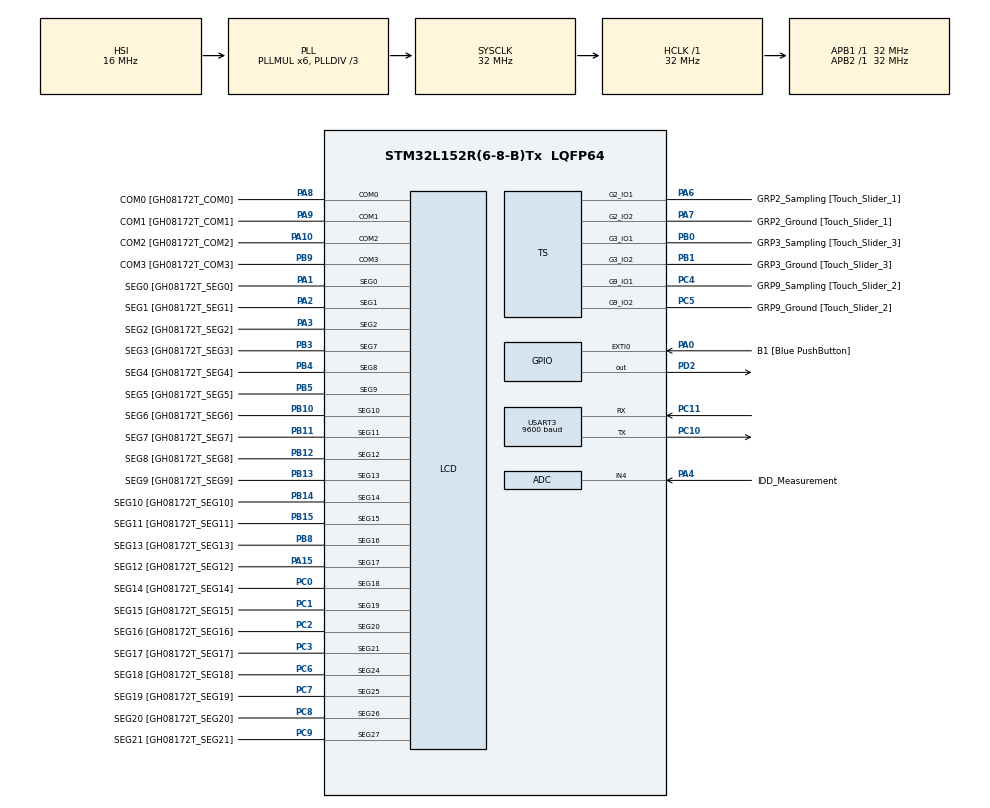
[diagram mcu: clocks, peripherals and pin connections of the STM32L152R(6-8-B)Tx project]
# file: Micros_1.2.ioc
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ADC.Channel=ADC_CHANNEL_4
ADC.Channel-0\#ChannelRegularConversion=ADC_CHANNEL_4
ADC.Channel-IN4=ADC_CHANNEL_4
ADC.ExternalTrigConv=ADC_EXTERNALTRIGCONV_T2_CC3
ADC.ExternalTrigConv-0\#ChannelRegularConversion=ADC_SOFTWARE_START
ADC.ExternalTrigConvEdge=ADC_EXTERNALTRIGCONVEDGE_RISING
ADC.Rank-0\#ChannelRegularConversion=1
ADC.SamplingTime-0\#ChannelRegularConversion=ADC_SAMPLETIME_4CYCLES
Mcu.Family=STM32L1
Mcu.Name=STM32L152R(6-8-B)Tx
Mcu.Package=LQFP64
NVIC.PriorityGroup=NVIC_PRIORITYGROUP_0
PA0-WKUP1.GPIO_Label=B1 [Blue PushButton]
PA0-WKUP1.GPIO_ModeDefaultEXTI=GPIO_MODE_EVT_RISING
PA0-WKUP1.GPIO_PuPd=GPIO_NOPULL
PA0-WKUP1.Signal=GPXTI0
PA1.GPIO_Label=SEG0 [GH08172T_SEG0]
PA1.GPIO_Mode=GPIO_MODE_AF_PP
PA1.GPIO_PuPd=GPIO_NOPULL
PA1.GPIO_Speed=GPIO_SPEED_FREQ_LOW
PA1.Mode=SEG0
PA1.Signal=LCD_SEG0
PA10.GPIO_Label=COM2 [GH08172T_COM2]
PA10.GPIO_Mode=GPIO_MODE_AF_PP
PA10.GPIO_PuPd=GPIO_NOPULL
PA10.GPIO_Speed=GPIO_SPEED_FREQ_LOW
PA10.Mode=1/4 Duty Cycle
PA10.Signal=LCD_COM2
PA13.GPIO_Label=SWDIO
PA13.Mode=Serial_Wire
PA13.Signal=SYS_JTMS-SWDIO
PA14.GPIO_Label=SWCLK
PA14.Mode=Serial_Wire
PA14.Signal=SYS_JTCK-SWCLK
PA15.GPIO_Label=SEG12 [GH08172T_SEG12]
PA15.GPIO_Mode=GPIO_MODE_AF_PP
PA15.GPIO_PuPd=GPIO_NOPULL
PA15.GPIO_Speed=GPIO_SPEED_FREQ_LOW
PA15.Mode=SEG17
PA15.Signal=LCD_SEG17
PA2.GPIO_Label=SEG1 [GH08172T_SEG1]
PA2.GPIO_Mode=GPIO_MODE_AF_PP
PA2.GPIO_PuPd=GPIO_NOPULL
PA2.GPIO_Speed=GPIO_SPEED_FREQ_LOW
PA2.Mode=SEG1
PA2.Signal=LCD_SEG1
PA3.GPIO_Label=SEG2 [GH08172T_SEG2]
PA3.GPIO_Mode=GPIO_MODE_AF_PP
PA3.GPIO_PuPd=GPIO_NOPULL
PA3.GPIO_Speed=GPIO_SPEED_FREQ_LOW
PA3.Mode=SEG2
PA3.Signal=LCD_SEG2
PA4.GPIO_Label=IDD_Measurement
PA4.GPIO_Mode=GPIO_MODE_ANALOG
PA4.GPIO_PuPd=GPIO_NOPULL
PA4.Mode=IN4
PA4.Signal=ADC_IN4
PA5.Signal=S_TIM2_CH1_ETR
PA6.GPIO_Label=GRP2_Sampling [Touch_Slider_1]
PA6.Mode=G2_IO1-Sampling
PA6.Signal=TS_G2_IO1
PA7.GPIO_Label=GRP2_Ground [Touch_Slider_1]
PA7.Mode=G2_IO2-Channel
PA7.Signal=TS_G2_IO2
PA8.GPIO_Label=COM0 [GH08172T_COM0]
PA8.GPIO_Mode=GPIO_MODE_AF_PP
PA8.GPIO_PuPd=GPIO_NOPULL
PA8.GPIO_Speed=GPIO_SPEED_FREQ_LOW
PA8.Mode=1/4 Duty Cycle
PA8.Signal=LCD_COM0
PA9.GPIO_Label=COM1 [GH08172T_COM1]
PA9.GPIO_Mode=GPIO_MODE_AF_PP
PA9.GPIO_PuPd=GPIO_NOPULL
PA9.GPIO_Speed=GPIO_SPEED_FREQ_LOW
PA9.Mode=1/4 Duty Cycle
PA9.Signal=LCD_COM1
PB0.GPIO_Label=GRP3_Sampling [Touch_Slider_3]
PB0.Mode=G3_IO1-Sampling
PB0.Signal=TS_G3_IO1
PB1.GPIO_Label=GRP3_Ground [Touch_Slider_3]
PB1.Mode=G3_IO2-Channel
PB1.Signal=TS_G3_IO2
PB10.GPIO_Label=SEG6 [GH08172T_SEG6]
PB10.GPIO_Mode=GPIO_MODE_AF_PP
PB10.GPIO_PuPd=GPIO_NOPULL
PB10.GPIO_Speed=GPIO_SPEED_FREQ_LOW
PB10.Mode=SEG10
PB10.Signal=LCD_SEG10
PB11.GPIO_Label=SEG7 [GH08172T_SEG7]
PB11.GPIO_Mode=GPIO_MODE_AF_PP
PB11.GPIO_PuPd=GPIO_NOPULL
PB11.GPIO_Speed=GPIO_SPEED_FREQ_LOW
PB11.Mode=SEG11
PB11.Signal=LCD_SEG11
PB12.GPIO_Label=SEG8 [GH08172T_SEG8]
PB12.GPIO_Mode=GPIO_MODE_AF_PP
PB12.GPIO_PuPd=GPIO_NOPULL
PB12.GPIO_Speed=GPIO_SPEED_FREQ_LOW
PB12.Mode=SEG12
PB12.Signal=LCD_SEG12
PB13.GPIO_Label=SEG9 [GH08172T_SEG9]
PB13.GPIO_Mode=GPIO_MODE_AF_PP
PB13.GPIO_PuPd=GPIO_NOPULL
PB13.GPIO_Speed=GPIO_SPEED_FREQ_LOW
PB13.Mode=SEG13
PB13.Signal=LCD_SEG13
PB14.GPIO_Label=SEG10 [GH08172T_SEG10]
PB14.GPIO_Mode=GPIO_MODE_AF_PP
PB14.GPIO_PuPd=GPIO_NOPULL
PB14.GPIO_Speed=GPIO_SPEED_FREQ_LOW
PB14.Mode=SEG14
PB14.Signal=LCD_SEG14
PB15.GPIO_Label=SEG11 [GH08172T_SEG11]
PB15.GPIO_Mode=GPIO_MODE_AF_PP
PB15.GPIO_PuPd=GPIO_NOPULL
PB15.GPIO_Speed=GPIO_SPEED_FREQ_LOW
PB15.Mode=SEG15
PB15.Signal=LCD_SEG15
PB3.GPIO_Label=SEG3 [GH08172T_SEG3]
PB3.GPIO_Mode=GPIO_MODE_AF_PP
PB3.GPIO_PuPd=GPIO_NOPULL
PB3.GPIO_Speed=GPIO_SPEED_FREQ_LOW
PB3.Mode=SEG7
PB3.Signal=LCD_SEG7
PB4.GPIO_Label=SEG4 [GH08172T_SEG4]
PB4.GPIO_Mode=GPIO_MODE_AF_PP
PB4.GPIO_PuPd=GPIO_NOPULL
PB4.GPIO_Speed=GPIO_SPEED_FREQ_LOW
PB4.Mode=SEG8
PB4.Signal=LCD_SEG8
PB5.GPIO_Label=SEG5 [GH08172T_SEG5]
PB5.GPIO_Mode=GPIO_MODE_AF_PP
PB5.GPIO_PuPd=GPIO_NOPULL
PB5.GPIO_Speed=GPIO_SPEED_FREQ_LOW
PB5.Mode=SEG9
PB5.Signal=LCD_SEG9
PB6.Signal=S_TIM4_CH1
PB7.Signal=S_TIM4_CH2
PB8.GPIO_Label=SEG13 [GH08172T_SEG13]
PB8.GPIO_Mode=GPIO_MODE_AF_PP
PB8.GPIO_PuPd=GPIO_NOPULL
PB8.GPIO_Speed=GPIO_SPEED_FREQ_LOW
PB8.Mode=SEG16
PB8.Signal=LCD_SEG16
PB9.GPIO_Label=COM3 [GH08172T_COM3]
PB9.GPIO_Mode=GPIO_MODE_AF_PP
PB9.GPIO_PuPd=GPIO_NOPULL
PB9.GPIO_Speed=GPIO_SPEED_FREQ_LOW
PB9.Mode=1/4 Duty Cycle
PB9.Signal=LCD_COM3
PC0.GPIO_Label=SEG14 [GH08172T_SEG14]
PC0.GPIO_Mode=GPIO_MODE_AF_PP
PC0.GPIO_PuPd=GPIO_NOPULL
PC0.GPIO_Speed=GPIO_SPEED_FREQ_LOW
PC0.Mode=SEG18
PC0.Signal=LCD_SEG18
PC1.GPIO_Label=SEG15 [GH08172T_SEG15]
PC1.GPIO_Mode=GPIO_MODE_AF_PP
PC1.GPIO_PuPd=GPIO_NOPULL
PC1.GPIO_Speed=GPIO_SPEED_FREQ_LOW
PC1.Mode=SEG19
PC1.Signal=LCD_SEG19
PC10.Mode=Asynchronous
PC10.Signal=USART3_TX
PC11.Mode=Asynchronous
PC11.Signal=USART3_RX
PC14-OSC32_IN.GPIO_Label=PC14-OSC32_IN
PC14-OSC32_IN.Mode=LSE-External-Oscillator
PC14-OSC32_IN.Signal=RCC_OSC32_IN
PC15-OSC32_OUT.GPIO_Label=PC15-OSC32_OUT
PC15-OSC32_OUT.Mode=LSE-External-Oscillator
PC15-OSC32_OUT.Signal=RCC_OSC32_OUT
PC2.GPIO_Label=SEG16 [GH08172T_SEG16]
PC2.GPIO_Mode=GPIO_MODE_AF_PP
PC2.GPIO_PuPd=GPIO_NOPULL
PC2.GPIO_Speed=GPIO_SPEED_FREQ_LOW
PC2.Mode=SEG20
PC2.Signal=LCD_SEG20
PC3.GPIO_Label=SEG17 [GH08172T_SEG17]
PC3.GPIO_Mode=GPIO_MODE_AF_PP
PC3.GPIO_PuPd=GPIO_NOPULL
PC3.GPIO_Speed=GPIO_SPEED_FREQ_LOW
PC3.Mode=SEG21
PC3.Signal=LCD_SEG21
PC4.GPIO_Label=GRP9_Sampling [Touch_Slider_2]
PC4.Mode=G9_IO1-Sampling
PC4.Signal=TS_G9_IO1
PC5.GPIO_Label=GRP9_Ground [Touch_Slider_2]
PC5.Mode=G9_IO2-Channel
PC5.Signal=TS_G9_IO2
PC6.GPIO_Label=SEG18 [GH08172T_SEG18]
PC6.GPIO_Mode=GPIO_MODE_AF_PP
PC6.GPIO_PuPd=GPIO_NOPULL
PC6.GPIO_Speed=GPIO_SPEED_FREQ_LOW
PC6.Mode=SEG24
PC6.Signal=LCD_SEG24
PC7.GPIO_Label=SEG19 [GH08172T_SEG19]
PC7.GPIO_Mode=GPIO_MODE_AF_PP
PC7.GPIO_PuPd=GPIO_NOPULL
PC7.GPIO_Speed=GPIO_SPEED_FREQ_LOW
PC7.Mode=SEG25
PC7.Signal=LCD_SEG25
PC8.GPIO_Label=SEG20 [GH08172T_SEG20]
PC8.GPIO_Mode=GPIO_MODE_AF_PP
PC8.GPIO_PuPd=GPIO_NOPULL
PC8.GPIO_Speed=GPIO_SPEED_FREQ_LOW
PC8.Mode=SEG26
PC8.Signal=LCD_SEG26
PC9.GPIO_Label=SEG21 [GH08172T_SEG21]
PC9.GPIO_Mode=GPIO_MODE_AF_PP
PC9.GPIO_PuPd=GPIO_NOPULL
PC9.GPIO_Speed=GPIO_SPEED_FREQ_LOW
PC9.Mode=SEG27
PC9.Signal=LCD_SEG27
PD2.Signal=GPIO_Output
ProjectManager.HeapSize=0x200
ProjectManager.StackSize=0x400
ProjectManager.TargetToolchain=STM32CubeIDE
RCC.48MHZClocksFreq_Value=48000000
RCC.AHBFreq_Value=32000000
RCC.APB1Freq_Value=32000000
RCC.APB1TimFreq_Value=32000000
RCC.APB2Freq_Value=32000000
RCC.APB2TimFreq_Value=32000000
RCC.HCLKFreq_Value=32000000
RCC.HSE_VALUE=8000000
RCC.HSI_VALUE=16000000
RCC.MSI_VALUE=2097000
RCC.PLLDIV=RCC_PLL_DIV3
RCC.PLLMUL=RCC_PLL_MUL6
RCC.RTCClockSelectionVirtual=RCC_RTCCLKSOURCE_LSE
RCC.SYSCLKFreq_VALUE=32000000
RCC.SYSCLKSource=RCC_SYSCLKSOURCE_PLLCLK
RCC.USBOutput=48000000
RCC.VCOOutputFreq_Value=96000000
SH.S_TIM2_CH1_ETR.0=TIM2_CH1
SH.S_TIM4_CH1.0=TIM4_CH1
SH.S_TIM4_CH2.0=TIM4_CH2
USART3.BaudRate=9600
USART3.VirtualMode=VM_ASYNC
VP_TIM2_VS_ClockSourceINT.Mode=Internal
VP_TIM3_VS_ClockSourceINT.Mode=Internal
VP_TIM4_VS_ClockSourceINT.Mode=Internal
board=STM32L-DISCOVERY

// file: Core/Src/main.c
/* USER CODE BEGIN Header */
/**
  ******************************************************************************
  * @file           : main.c
  * @brief          : Main program body
  ******************************************************************************
  * @attention
  *
  * Copyright (c) 2022 STMicroelectronics.
  * All rights reserved.
  *
  * This software is licensed under terms that can be found in the LICENSE file
  * in the root directory of this software component.
  * If no LICENSE file comes with this software, it is provided AS-IS.
  *
  * @authors        : Rodrigo De Lama Fernández @rodrigodelama
  *                   Manuel Morales Niño @ikaoseu
  *                   Jaime Mato Rodriguez @Pekeniojimi
  *
  * @repo           : https://github.com/rodrigodelama/Micros_1.2
  *
  * former repo with
  * commit history  : https://github.com/rodrigodelama/LAB_1
  *
  ******************************************************************************
  */
/* USER CODE END Header */
#include "main.h"

/* USER CODE BEGIN Includes */
#include "stm32l152c_discovery.h"
#include "stm32l152c_discovery_glass_lcd.h"
#include "SDM_Utils.h"
/* USER CODE END Includes */

 ADC_HandleTypeDef hadc;

LCD_HandleTypeDef hlcd;

TIM_HandleTypeDef htim2;
TIM_HandleTypeDef htim3;
TIM_HandleTypeDef htim4;

UART_HandleTypeDef huart3;

/* USER CODE BEGIN PV */
//GLOBAL VARS & DEFINITIONS
unsigned int prev_game = 0;
unsigned int game = 1; //GAME1 is the starting point
unsigned int winner = 0; //Initialised to 0, if it never changes, it will generate an error
unsigned int playing = 0; //for game 1 - Maintains the button interrupts disabled unless we are awaiting
unsigned int btn_pressed = 0; //for game2 - To exit countdown loop

unsigned int time_3 = 0;
unsigned int time_4ch1 = 0;
unsigned int time_4ch2 = 0;
unsigned int time_2ch1 = 0; //TODO: turn on when TIM2 is finished

unsigned short delta;
unsigned int randn;
unsigned int low_limit_randn = 500;
unsigned int high_limit_randn;

unsigned int countdown;
unsigned int potentiometer_value;
unsigned int adc_value;
unsigned int x; // 1/3 point
unsigned int y; // 2/3 point

unsigned int timeout_time;
unsigned int timer_count_limit;

unsigned int octave3[7] = {130.812783, 146.832384, 164.813778, 174.614116, 195.997718, 220.000000, 246.941651};
unsigned int octave4[7] = {261.625565, 293.664768, 329.627557, 349.228231, 391.995436, 440.000000, 493.883301};

uint8_t text[6]; //ASCII character array to output in the Discovery LCD

short duty_cycle = 1; //TODO: for TIM2 PWM
/* USER CODE END PV */

void SystemClock_Config(void);
static void MX_GPIO_Init(void);
static void MX_ADC_Init(void);
static void MX_LCD_Init(void);
static void MX_TS_Init(void);
static void MX_TIM3_Init(void);
static void MX_TIM4_Init(void);
static void MX_TIM2_Init(void);
static void MX_USART3_UART_Init(void);

/* USER CODE BEGIN 0 */
//INTERRUPTS
void EXTI0_IRQHandler(void)
{
  // USER BUTTON is pressed, a rising edge is detected in PA0
  if ((EXTI->PR &BIT_0) != 0) // Is EXTI0 flag on? //0000000000000001 in the Pending Register of ISER[0]
  {
    game++; //If at GAME 1, proceed to GAME 2
    if (game > 2) game = 1; //Reset to 1 after requesting change from GAME 2
  }
  EXTI->PR |= (1 << 6); // Clear EXTI0 flag (writes a 1 in PR0 pos)
  //Clear flag must be out of condition so it never hangs if condition is not met
}

// NVIC->ISER[0] pin 23 for EXTIs 9 to 5
void EXTI9_5_IRQHandler(void) //ISR for EXTI7 & EXTI6
{
  if (((EXTI->PR &BIT_7) || (EXTI->PR &BIT_6)) != 0) //most general aproach --> (EXTI->PR != 0)
  {
    // BUTTON 1 is pressed, a rising edge is detected in PB7
    if (EXTI->PR &(1 << 7)) // 00000000010000000 in pending register of ISER[0]
    {
      if ((game == 1) && (playing == 1))
      {
        GPIOA->BSRR = (1 << 12) << 16; //Turn off LED
        playing = 0;
        winner = 1;
      }
      else if (game == 2)
      {
        //This code is meant to end the while loop, we will determine the winner by checking the time deltas afterwards
        btn_pressed = 1;
      }
      //else nothing
    }
    // BUTTON 2 is pressed, a rising edge is detected in PB6
    if (EXTI->PR &(1 << 6)) // 00000000001000000 in pending register
    {
      if ((game == 1) && (playing == 1))
      {
        GPIOA->BSRR = (1 << 12) << 16;
        playing = 0;
        winner = 2;
      }
      else if (game == 2)
      {
        btn_pressed = 2;
      }
    }
  }
  //Always clear flags to avoid hanging
  EXTI->PR |= (1 << 7); // Clear the EXTI7 flag (writes a 1 in PR7)
  EXTI->PR |= (1 << 6); // Clear the EXTI6 flag
}

//TIMERS
//TIC timer 4 CH1 and CH2
void TIM4_IRQHandler(void)
{
  //CH1 for PB6 - Player 2
  if((TIM4->SR &BIT_1) != 0) //0x2
  {
    time_4ch1 = TIM4->CCR1; //The time loaded to our var shall be the count when the button was clicked
    if(time_4ch1 < 0) time_4ch1 += 0x0FFFF; //FIXME: avoids impossible negative times ?? - grabbed from ENG_08_Solutions_Timers_v4.pdf, exercise 6
  }
  //CH2 for PB7 - Player 1
  if((TIM4->SR &BIT_2) != 0) //0x4
  {
    time_4ch2 = TIM4->CCR2;
    if(time_4ch2 < 0) time_4ch2 += 0x0FFFF;
  }
  TIM4->SR = 0x0;
}

/* USER CODE END 0 */

int main(void)
{
  /* USER CODE BEGIN 1 */
  GPIO_InitTypeDef GPIO_InitStruct; //For corrrect USART3 implementation with pins PC10 and PC11
  /* USER CODE END 1 */

  /* MCU Configuration--------------------------------------------------------*/

  /* Reset of all peripherals, Initializes the Flash interface and the Systick. */
  HAL_Init();

  /* Configure the system clock */
  SystemClock_Config();

  /* Initialize all configured peripherals */
  MX_GPIO_Init();
  MX_ADC_Init();
  MX_LCD_Init();
  MX_TS_Init();
  MX_TIM3_Init();
  MX_TIM4_Init();
  MX_TIM2_Init();
  MX_USART3_UART_Init();
  /* USER CODE BEGIN 2 */
  //DECLARATION OF PERIPHERALS WE WILL USE

  //LCD Setup
  BSP_LCD_GLASS_Init();
  BSP_LCD_GLASS_BarLevelConfig(0);
  BSP_LCD_GLASS_Clear();
  //For corrrect USART3 implementation with pins PC10 and PC11
  GPIO_InitStruct.Pin = GPIO_PIN_10;
  GPIO_InitStruct.Mode = GPIO_MODE_AF_PP;
  GPIO_InitStruct.Pull = GPIO_PULLUP;
  GPIO_InitStruct.Speed = GPIO_SPEED_HIGH;
  GPIO_InitStruct.Alternate = GPIO_AF7_USART3;
  HAL_GPIO_Init(GPIOC, &GPIO_InitStruct);
  GPIO_InitStruct.Pin = GPIO_PIN_11;
  HAL_GPIO_Init(GPIOC, &GPIO_InitStruct);

  //Pins + their EXTIs - I/O
  /* PB0 ---------------------------------------------------------------------*/
  //PA0 (USER BUTTON) - digital input (00)
  GPIOA->MODER &= ~(1 << (0*2 + 1));
  GPIOA->MODER &= ~(1 << (0*2));
  //EXTI0
  SYSCFG->EXTICR[0] = 0000; // Linking EXTI0 to GPIOA (PA0 = USER BUTTON) - all zeros mean GPIOA
  EXTI->RTSR |= BIT_0; // Enables rising edge in EXTI0
  EXTI->FTSR &= ~(BIT_0); // Disables falling edge in EXTI0
  EXTI->IMR |= BIT_0; // Enables the Interrupt (i.e. the event) (IMR = Interrupt Mask Register)
  NVIC->ISER[0] |= (1 << 6); //Enables EXTI0 in the NVICs ISER[0]s position 6

  //USING I/O PINS 7 & 6 FOR PLAYER BUTTONS 1 & 2 RESPECTIVELY
  /* PB7 ---------------------------------------------------------------------*/
  //PB7 (BUTTON 1) - digital input (00) - w/ AF TIM4_CH2
  //Set PB7 to 10 for Alternate Functions (AFs)
  GPIOB->MODER |= (1 << (7*2 + 1));
  GPIOB->MODER &= ~(1 << (7*2));
  //AF for TIM4_CH2 (AF2)
  GPIOB->AFR[0] |= (0x02 << (7*4)); // Writes 0010 in AFRL7 associating TIM4 to PB7
  //WE NEED INTERNAL RESISTORS - pull-up OR pull-down ?
  //We chose pull-up: a constant 1 unless we press, then its shorted to GND
  //Set up with pull-up resistor (01)
  GPIOB->PUPDR &= ~(1 << (7*2 + 1));
  GPIOB->PUPDR |= (1 << (7*2));
  //EXTI7
  SYSCFG->EXTICR[1] |= BIT_12; // Linking EXTI7 to GPIOB (PB7 = BUTTON 1)
                    // Sets a 1 in bit 12 see page 145 of the manual
  EXTI->RTSR &= ~(BIT_7); // Disables rising edge in EXTI7
  EXTI->FTSR |= BIT_7; // Enables falling edge in EXTI7
  EXTI->IMR |= BIT_7; // Enables the interrupt after setup
  NVIC->ISER[0] |= (1 << 23); // EXTI7 has position 23 in ISER[0]

  /* PB6 ---------------------------------------------------------------------*/
  //PB6 (BUTTON 2) - digital input (00) - w/ AF TIM4_CH1
  //Set PB6 to 10 for AFs
  GPIOB->MODER |= (1 << (6*2 + 1));
  GPIOB->MODER &= ~(1 << (6*2));
  //AF for TIM4_CH1 (AF2)
  GPIOB->AFR[0] |= (0x02 << (6*4)); // Writes 0010 in AFRL6 associating TIM4 to PB6
  //Set up with pull-up resistor (01)
  GPIOB->PUPDR &= ~(1 << (6*2 + 1));
  GPIOB->PUPDR |= (1 << (6*2));
  //EXTI6
  SYSCFG->EXTICR[1] |= BIT_8; // Linking EXTI6 to GPIOB (PB6 = BUTTON 2)
                    // Sets a 1 in bit 8 see page 145 of the manual
  EXTI->RTSR &= ~(BIT_6); // Disables rising edge in EXTI6
  EXTI->FTSR |= BIT_6; // Enables falling edge in EXTI6
  EXTI->IMR |= BIT_6; // Enables the interrupt
  NVIC->ISER[0] |= (1 << 23); // EXTI6 & 7 have position 23 in the NVIC, since

  //TIMERS
  /* TIM3 --------------------------------------------------------------------*/
  //No pin assignment, we just plainly use it for the TOC
  //SET-UP for TIM3 - TOC, for random LED off and TBD
  TIM3->CR1 = 0x0000;   // ON IN CODE BELOW
  TIM3->CR2 = 0x0000;   // Always set to 0
  TIM3->SMCR = 0x0000;  // Always set to 0
  TIM3->PSC = 31999;    //Means fclk/(PSC+1)
  TIM3->CNT = 0;        //Initiallized to 0
  TIM3->ARR = 0xFFFF;   //USED IN PWN so set to max
  TIM3->DIER = 0x0000;
  TIM3->CCMR1 = 0x0000; //CCyS = 00 (TOC)
                        //OCyM = 000 (no external output)
                        //OCyPE = 0 (no preload)
  TIM3->CCER = 0x0000;  //CCyP = 0 (always in TOC)
                        //CCyE = 0 (external output disabled)
  /* TIM4 --------------------------------------------------------------------*/
  //Assigned to PB7 and PB7
  //SET-UP for TIMs 4, CH1 & CH2 - TICs
  TIM4->CR1 = 0x0000;   //Set to 0 for Counter OFF initially
                        //It will be turned ON in code below
                        //ARPE off because NOT PWM
  TIM4->CR2 = 0x0000;   //Always set to 0 in this course
  TIM4->SMCR = 0x0000;  //Always set to 0 in this course
  TIM4->PSC = 31999;
  TIM4->CNT = 0;
  TIM4->ARR = 0xFFFF;
  TIM4->DIER = 0X0006;  //IRQ activation for CH1 & 2
  TIM4->CCMR1 = 0x0101; //0000 0001 0000 0001
                        //CCyS = 01 (TIC)
                        //OCyCE = 0
                        //OCyM = 000 (no external output)
                        //OCyPE = 0 (no preload)
                        //OCyFE = 0
  TIM4->CCER = 0x0033;  //CCyP = 01 (falling edge)
                        //CCyE = 1 (input capture enabled)
  NVIC->ISER[0] |= (1 << 30); //Enables IRQ source for TIM4 in NVIC (pos 30)

  //FIXME:
  /* TIM2 --------------------------------------------------------------------*/
  //Assigned to PA5 (10 - AFs)
  GPIOA->MODER |= (1 << 5*2 + 1);
  GPIOA->MODER &= ~(1 << 5*2);
  GPIOA->AFR[0] |= (0x1 << 5*4); //0001 - AF1 - TIM2
  //SET-UP for TIM2_CH1 - PWM
  TIM2->CR1 = 0x0080;   //(ARPE=1, CEN=0: timer not counting yet)
  TIM2->CR2 = 0x0000;   //Always set to 0 in this course
  TIM2->SMCR = 0x0000;  //Always set to 0 in this course
  //PSC, CNT, ARR AND CCRx
  TIM2->PSC = 31999;
  TIM2->CNT = 0;
  //TIM2->ARR = X; //Value that when reached by CNT, resets CNT back to 0
  TIM2->CCR1 = duty_cycle;
  TIM2->DIER = 0X0000;
  TIM2->CCMR1 = 0x6800; //0110 1000 0000 0000 meaning
                        //bit15 OC1CE always to 0
                        //bit14-12 OC1M to 110 - PWM with the cycle starting at 1
                        //bi11 OC1PE to 1 - the CCR1 value will be updated after an update event
  TIM2->CCER = 0x0010;  //Enables the hardware output of TIM2_CH1
  //Plus CR1 and EGR to 0x1 to activate timer when needed

  //ADC & Buzzer
  /* ADC_IN4 ------------------------------------------------------------------*/
  //PA4 as analog
  GPIOA->MODER |= (1 << (4*2 + 1));
  GPIOA->MODER |= (1 << (4*2));
  ADC1->CR2 &= ~(0x00000001); // ADON = 0 (ADC powered off initially)
  ADC1->CR1 = 0x00000000;     // OVRIE = 0 (overrun IRQ disabled)
                              // RES = 00 (resolution = 12 bits)
                              // SCAN = 0 (scan mode disabled)
                              // EOCIE = 0 (EOC IRQ disabled)
  ADC1->CR2 = 0x00000412;     // EOCS = 1 (EOC is activated after each conversion)
                              // DELS = 001 (delay till data is read)
                              // CONT = 1 (continuous conversion)
  ADC1->SQR1 = 0x00000000;    // Set to 0 - 1 conversion
  ADC1->SQR5 = 0x00000004;    // Selected first and only conversion is AIN4
  ADC1->CR2 |= 0x00000001;    // ADON = 1 (ADC powered on)

  /* BUZZER -------------------------------------------------------------------*/
  //PA5 as AF because we want it as PWM (send different frequencies at different points)
  GPIOA->MODER |= (1 << (5*2 + 1));
  GPIOA->MODER &= ~(1 << (5*2));
  //AF for TIM2_CH1
  GPIOA->AFR[0] |= (0x02 << (5*4)); // Writes 0010 in AFRL5

  //LEDs
  /* LED1 ---------------------------------------------------------------------*/
  //PA12 (EXTERNAL LED1) - digital output (01)
  GPIOA->MODER &= ~(1 << (12*2 + 1));
  GPIOA->MODER |= (1 << (12*2));
  //Set up with pull-up resistor (01)
  GPIOA->PUPDR &= ~(1 << (12*2 + 1));
  GPIOA->PUPDR |= (1 << (12*2));
  /* LED2 ---------------------------------------------------------------------*/
  //PD2 (EXTERNAL LED2) - digital output (01)
  GPIOD->MODER &= ~(1 << (2*2 + 1));
  GPIOD->MODER |= (1 << (2*2));
  //Set up with pull-up resistor (01)
  GPIOD->PUPDR &= ~(1 << (2*2 + 1));
  GPIOD->PUPDR |= (1 << (2*2));

  /* USART --------------------------------------------------------------------*/
  //RX - PC11 - AF (10)
  GPIOC->MODER |= (1 << (11*2 + 1));
  GPIOC->MODER &= ~(1 << (11*2));
  GPIOA->AFR[1] |= (0x7 << (10*4)); // Writes 0111 in AFRH for pin 11 - USART1_3
                    //change 0x7 bc it probably wont work
  //TX - PC10
  GPIOC->MODER |= (1 << (10*2 + 1));
  GPIOC->MODER &= ~(1 << (10*2));
  GPIOA->AFR[1] |= (0x7 << (10*4)); // Writes 0111 in AFRH for pin 10
  //USART3 registers

  //for USART3
  NVIC->ISER[1] |= (1 << 7); //position 39 (for ISER[1], 0 is 32, 7 is 39)

  /* USER CODE END 2 */

  /* Infinite loop */
  /* USER CODE BEGIN WHILE */
  while (1)
  {
    //Global Requirements
    //Display GAME 1 (initially) --> DONE IN GLOBAL VAR DECLARATION
    //If the USER BUTTON is pressed, change to GAME 2 (at ANY time) --> global if

    //INITIAL SETUP before each game runs
    //All LEDs shall be initially off - when changing game modes, upon a restart of the main while loop
    GPIOA->BSRR = (1 << 12) << 16;
    GPIOD->BSRR = (1 << 2) << 16;
    //Reset counters
    TIM3->CNT = 0;
    TIM4->CNT = 0;
    //Clear all timer flags to be used
    TIM4->SR = 0;
    TIM3->SR = 0;

    //The following global IF condition is used so we may immediately switch between games
    //(a WHILE would force us to finish the nested code execution, then break outside)
    if (prev_game != game)
    {
      prev_game = game;
      switch(game)
      {
        case 1: //GAME 1 - REACTION TIME
          while (game == 1)
          {
            BSP_LCD_GLASS_Clear(); //Clear LCD
            BSP_LCD_GLASS_DisplayString((uint8_t*)" GAME1");
            espera(2*sec);
            if (prev_game != game) break;
            //GAME STARTS HERE
            BSP_LCD_GLASS_Clear(); //Not strictly needed since we are printing the same No. of chars to display
            BSP_LCD_GLASS_DisplayString((uint8_t*)" READY");
            espera(2*sec);
            if (prev_game != game) break;
            BSP_LCD_GLASS_Clear();
            BSP_LCD_GLASS_DisplayString((uint8_t*)"  GO");

            //Waiting for users to input
            while (winner == 0)
            {
              if (prev_game != game) break;

              //Start counters
              TIM3->CR1 |= BIT_0;   //Set CEN = 1, Starts the counter
              TIM3->EGR |= BIT_0;   //UG = 1 -> Generate an update event to update all registers
              TIM3->SR = 0;         //Clear counter flags
              randn = random_num(0, 4000); //Before 4 secs, at any RANDOM time LED1 will turn ON
              TIM3->CCR1 = randn; //TIM3 will set a flag when it reaches randn

              while((TIM3->SR &0x0002) == 0); //loop until there is an event in timer (finishes counting up to randn)
              TIM3->SR &= ~(0x0002); //Clear flag after event

              //Start counting the time delta to a player pressing their button as LED1 lights up
              TIM4->CR1 |= BIT_0;
              TIM4->EGR |= BIT_0;
              TIM4->SR = 0;

              if (winner == 0) GPIOA->BSRR = (1 << 12); // LED ON while no player has pressed their button yet
              playing = 1; //We only want to accept the button presses after LED1 is lit

              if (prev_game != game) break;
            }

            //WINNER is determined by interrupts, they will change the var winner to 1 or 2 respectively
            if (winner == 1)
            {
              BSP_LCD_GLASS_Clear();

              //Concatenates the player number before reaction time
              //player Y; reaction time XXXXX
              //format for display = YXXXXX
              time_4ch2 += 10000; //In this case = 1XXXXX
              Bin2Ascii(time_4ch2, text); //Transforms the short data type to ASCII
              BSP_LCD_GLASS_DisplayString((uint8_t*) text);

              espera(3*sec); //wait so the player acknowledges their win
              winner = 0; //reset winner for future match
              playing = 0;
            }
            else if (winner == 2) // We use an else if because we only want ONE winner
            {
              BSP_LCD_GLASS_Clear();

              //Concatenates the player number before reaction time
              time_4ch1 += 20000;
              Bin2Ascii(time_4ch1, text);
              BSP_LCD_GLASS_DisplayString((uint8_t*) text);

              espera(3*sec);
              winner = 0;
              playing = 0;
            }
          }
        break;

        case 2: //GAME 2 - COUNTDOWN
            while (game == 2)
            {
              //Users are displayed a countdown in real time from 10 to 0
              //At a random time (a while before 0 - use TIM3 with rand up to 10)
              //the countdown will STOP being displayed
              //The players have to attempt to press the button when the countdown reaches 0

              //The player with the closest time delta to 0 will win, and their LED will light up
              //Pressing before the countdown ends will result in displaying -XXXX time left
              //Pressing after the countdown ends will result in displaying +XXXX time passed
              //The player to have the closest absolute value to 0, wins

              BSP_LCD_GLASS_Clear();
              BSP_LCD_GLASS_DisplayString((uint8_t*)" GAME2");
              espera(2*sec);
              if (prev_game != game) break;

              BSP_LCD_GLASS_Clear();
              BSP_LCD_GLASS_DisplayString((uint8_t*)" READY");
              espera(2*sec);
              if (prev_game != game) break;

              //Initial conditions reset
              winner = 0;
              btn_pressed = 0;
              time_4ch1 = 0;
              time_4ch2 = 0;
              time_2ch1 = 0;
              high_limit_randn = 0;
              timer_count_limit = 0;
              timeout_time = 0;

              while ((ADC1->SR &0x0040) == 0); // If ADCONS = 0, I wait till converter is ready
              ADC1->CR2 |= 0x40000000; // When ADCONS = 1, I start conversion (SWSTART = 1)
              while ((ADC1->SR &0x2) == 0); //While EOC is not flagged, wait
              adc_value = ADC1->DR; //Assign value after successfull conversion

              /*
              //Testing check
              Bin2Ascii(adc_value, text);
              BSP_LCD_GLASS_DisplayString((uint8_t*) text);
              espera(2*sec);
              */

              //This strucutre runs before each game setting the countdown mode based on the value read from the potentiometer when starting the game
              x = 1000; //1 volt
              y = 2000; //2 volts
              if (adc_value < x) potentiometer_value = 1;
              else if (adc_value > y) potentiometer_value = 3;
              else potentiometer_value = 2;

              //Start counters
              TIM3->CR1 |= BIT_0;   //Set CEN = 1, Starts the counter
              TIM3->EGR |= BIT_0;   //UG = 1 -> Generate an update event to update all registers
              TIM3->SR = 0;         //Clear counter flags

              switch(potentiometer_value)
              {
                  case 1:
                    high_limit_randn = 4500;
                    timer_count_limit = 5000;
                    timeout_time = 7000;
                  break;
                  case 2:
                    high_limit_randn = 9500;
                    timer_count_limit = 10000;
                    timeout_time = 12000;
                  break;
                  case 3:
                    high_limit_randn = 19500;
                    timer_count_limit = 20000;
                    timeout_time = 22000;
                  break;
              }
              randn = random_num(low_limit_randn, high_limit_randn); //rand num between 0.5 and x seconds
                                //(so the players can see the game started and it doesnt finish too close to 0)
              TIM3->CCR1 = randn;

              TIM4->CR1 |= BIT_0;
              TIM4->EGR |= BIT_0;

              while (btn_pressed == 0)
              {
                while ((TIM3->SR &0x0002) == 0) /*Keep displaying digits while CNT is not reached*/
                {
                  time_3 = TIM3->CNT;
                  countdown = timer_count_limit - time_3;

                  //For checkpoint 3 - a switch that makes the countdown decrease in steps of 0.5s, 1s and 2s (displaying all whole nums: 10, 9, 8...)
                  switch(potentiometer_value)
                  {
                    case 1: //lowest potentiometer position
                      if(countdown%500 != 0) break; // Guard clause - if not met, break, if met, allow folling code to execute
                      countdown /= 500;
                      Bin2Ascii(countdown, text);
                      BSP_LCD_GLASS_DisplayString((uint8_t*) text);
                      //HAL_UART_Transmit(&huart3, (uint8_t*) text, 6, 10000);
                    break;
                    case 2: //mid pos
                      //To display only whole numbers (1sec increments) if the
                      //number is a multiple of 10000, divide it by 1000 and display
                      //In this case the LCD only display whole numbers (10, 9, 8, etc)
                      if(countdown%1000 != 0) break;
                      countdown /= 1000;
                      Bin2Ascii(countdown, text);
                      BSP_LCD_GLASS_DisplayString((uint8_t*) text);
                      //HAL_UART_Transmit(&huart3, countdown, 6, 10000);
                    break;
                    case 3: //max pos
                      if(countdown%2000 != 0) break;
                      countdown /= 2000;
                      Bin2Ascii(countdown, text);
                      BSP_LCD_GLASS_DisplayString((uint8_t*) text);
                      //HAL_UART_Transmit(&huart3, text, 6, 10000);
                    break;
                  }

                  if (prev_game != game) break;
                }
                if ((TIM3->SR &0x0002) != 0)
                {
                  BSP_LCD_GLASS_Clear(); //Clear LCD when randn is reached by TIM3
                  //We will wait here for up to 2secs after the count passes 10secs while no winner is defined
                  if (TIM3->CNT > timeout_time) break; //if nobody presses any button after 13s the game resets
                }

                if (prev_game != game) break;
              }
              TIM3->SR &= ~(0x0002); //Clear flag after any button press

              //WINNER is determined by the whoever pressed closest to 0
              //when 1st player clicks save their time to a var
              //wait for the second player to click and save to var2
              //compare vars, smallest absolute value wins

              //If the game was engaged with, wait for the other player to attempt their press
              while ((time_4ch2 == 0) || (time_4ch1 == 0))
              {
                if((time_4ch2 == 0) && (time_4ch1 == 0))
                {
                  BSP_LCD_GLASS_DisplayString((uint8_t*) "  END");
                  espera(2*sec);
                  break; //if no one pressed, break
                }
                //Grace period of 2secs from countdown reaching 0, if not automatically the only player to click will win
                if (TIM3->CNT > timeout_time)
                {
                  if (time_4ch1 == 0) //If only P1 pressed, they win
                  {
                    winner = 1;
                    break; //break out of while loop
                  }
                  else if (time_4ch2 == 0) //If only P2 pressed, they win
                  {
                    winner = 2;
                    break;
                  }
                }
              }

              if(time_4ch1 == time_4ch2) //unlikely but maybe still a possibility
              {
                if ((time_4ch1 == 0) && (time_4ch2 == 0)); //no one played - discard
                else
                BSP_LCD_GLASS_DisplayString((uint8_t*) "  TIE");
                espera(2*sec);
              }
              else if((time_4ch1 == 0) || (time_4ch2 == 0))
              {
                //If one of them is 0, with the code above, the only player to press automatically won
                //This if statement is meant as a security measure, we discard that option and continue with the code
              }
              else if(abs(time_4ch1 - timer_count_limit) > abs(time_4ch2 - timer_count_limit)) //who is closer to timer_count_limit ??
              {
                winner = 1;
              }
              else if(abs(time_4ch2 - timer_count_limit) > abs(time_4ch1 - timer_count_limit))
              {
                winner = 2;
              }

              if (winner == 1)
              {
                GPIOA->BSRR = (1 << 12); //Turn on LED1 to indicate P1 won

                //Pressing before the countdown ends will result in displaying -XXXX time left
                //Pressing after the countdown ends will result in displaying +XXXX time passed

                //Depending on the max value we must calculate the time delta
                delta = timer_count_limit - time_4ch2;
                Bin2Ascii(delta, text);
                BSP_LCD_GLASS_DisplayString((uint8_t*) text);
                if(time_4ch2 < timer_count_limit)
                {
                  //TODO: check downloaded code from buzzer/src, stablish functionality and diff freqs.
                  //PLAY MELODY 1 (player pressed before end of countdown)
                  //TIM2->CR1 |= 0x0001; //Timer on toggle
                  //TIM2->EGR |= 0x0001; //Update event
                  BSP_LCD_GLASS_DisplayString((uint8_t*) " -");
                }
                else
                {
                  //PLAY MELODY 2 (player pressed before end of countdown)
                  //TIM2->CR1 |= 0x0001;
                  //TIM2->EGR |= 0x0001;
                  //use different increasing step (double the frequencies to change octave)
                  //time_2ch1 // what??
                  BSP_LCD_GLASS_DisplayString((uint8_t*) " +");
                }

                espera(2*sec); //wait so the player acknowledges their win
                GPIOA->BSRR = (1 << 12) << 16; //Turn off winners LED after win
                TIM2->SR = 0;
              }
              else if (winner == 2)
              {
                GPIOD->BSRR = (1 << 2); //Turn on LED2 to indicate P2 won

                delta = timer_count_limit - time_4ch1;
                Bin2Ascii(delta, text);
                BSP_LCD_GLASS_DisplayString((uint8_t*) text);
                if(time_4ch1 < timer_count_limit)
                {
                  //PLAY MELODY 1
                  //TIM2->CR1 |= 0x0001;
                  //TIM2->EGR |= 0x0001;
                  BSP_LCD_GLASS_DisplayString((uint8_t*) " -");
                }
                else
                {
                  //PLAY MELODY 2
                  //TIM2->CR1 |= 0x0001;
                  //TIM2->EGR |= 0x0001;
                  //different step
                  BSP_LCD_GLASS_DisplayString((uint8_t*) " +");
                }

                espera(2*sec);
                GPIOD->BSRR = (1 << 2) << 16;
                TIM2->SR = 0;
              }
              /** Checkpoint 4
                //USART3 help code

                HAL_UART_Transmit (&huart1,(uint8_t*) data , 5 ,0xFFFF);
                // USER CODE END PV
                HAL functions:
                HAL_UART_Receive_IT(&huart1, (uint8_t*) data_rx , 1);
                HAL_UART_Receive(&huart1, (uint8_t*) data_rx , 1, 0xFFFF);
               */

            } //END OF GAME2
        break;

        //This code below should be unreachable on purpose
        default:
          GPIOA->BSRR = (1 << 12) << 16;
          BSP_LCD_GLASS_Clear();
          BSP_LCD_GLASS_DisplayString((uint8_t*)" ERROR");
          espera(2*sec);
          BSP_LCD_GLASS_Clear();
          BSP_LCD_GLASS_DisplayString((uint8_t*)" RESET");
        break;
      }
    }

    /* USER CODE END WHILE */

  }
}

void SystemClock_Config(void)
{
  RCC_OscInitTypeDef RCC_OscInitStruct = {0};
  RCC_ClkInitTypeDef RCC_ClkInitStruct = {0};
  RCC_PeriphCLKInitTypeDef PeriphClkInit = {0};

  /** Configure the main internal regulator output voltage
  */
  __HAL_PWR_VOLTAGESCALING_CONFIG(PWR_REGULATOR_VOLTAGE_SCALE1);

  /** Initializes the RCC Oscillators according to the specified parameters
  * in the RCC_OscInitTypeDef structure.
  */
  RCC_OscInitStruct.OscillatorType = RCC_OSCILLATORTYPE_HSI|RCC_OSCILLATORTYPE_LSE;
  RCC_OscInitStruct.LSEState = RCC_LSE_ON;
  RCC_OscInitStruct.HSIState = RCC_HSI_ON;
  RCC_OscInitStruct.HSICalibrationValue = RCC_HSICALIBRATION_DEFAULT;
  RCC_OscInitStruct.PLL.PLLState = RCC_PLL_ON;
  RCC_OscInitStruct.PLL.PLLSource = RCC_PLLSOURCE_HSI;
  RCC_OscInitStruct.PLL.PLLMUL = RCC_PLL_MUL6;
  RCC_OscInitStruct.PLL.PLLDIV = RCC_PLL_DIV3;
  if (HAL_RCC_OscConfig(&RCC_OscInitStruct) != HAL_OK)
  {
    Error_Handler();
  }

  /** Initializes the CPU, AHB and APB buses clocks
  */
  RCC_ClkInitStruct.ClockType = RCC_CLOCKTYPE_HCLK|RCC_CLOCKTYPE_SYSCLK
                              |RCC_CLOCKTYPE_PCLK1|RCC_CLOCKTYPE_PCLK2;
  RCC_ClkInitStruct.SYSCLKSource = RCC_SYSCLKSOURCE_PLLCLK;
  RCC_ClkInitStruct.AHBCLKDivider = RCC_SYSCLK_DIV1;
  RCC_ClkInitStruct.APB1CLKDivider = RCC_HCLK_DIV1;
  RCC_ClkInitStruct.APB2CLKDivider = RCC_HCLK_DIV1;

  if (HAL_RCC_ClockConfig(&RCC_ClkInitStruct, FLASH_LATENCY_1) != HAL_OK)
  {
    Error_Handler();
  }
  PeriphClkInit.PeriphClockSelection = RCC_PERIPHCLK_RTC|RCC_PERIPHCLK_LCD;
  PeriphClkInit.RTCClockSelection = RCC_RTCCLKSOURCE_LSE;
  PeriphClkInit.LCDClockSelection = RCC_RTCCLKSOURCE_LSE;

  if (HAL_RCCEx_PeriphCLKConfig(&PeriphClkInit) != HAL_OK)
  {
    Error_Handler();
  }
}

static void MX_ADC_Init(void)
{

  ADC_ChannelConfTypeDef sConfig = {0};

  /** Configure the global features of the ADC (Clock, Resolution, Data Alignment and number of conversion)
  */
  hadc.Instance = ADC1;
  hadc.Init.ClockPrescaler = ADC_CLOCK_ASYNC_DIV1;
  hadc.Init.Resolution = ADC_RESOLUTION_12B;
  hadc.Init.DataAlign = ADC_DATAALIGN_RIGHT;
  hadc.Init.ScanConvMode = ADC_SCAN_DISABLE;
  hadc.Init.EOCSelection = ADC_EOC_SEQ_CONV;
  hadc.Init.LowPowerAutoWait = ADC_AUTOWAIT_DISABLE;
  hadc.Init.LowPowerAutoPowerOff = ADC_AUTOPOWEROFF_DISABLE;
  hadc.Init.ChannelsBank = ADC_CHANNELS_BANK_A;
  hadc.Init.ContinuousConvMode = DISABLE;
  hadc.Init.NbrOfConversion = 1;
  hadc.Init.DiscontinuousConvMode = DISABLE;
  hadc.Init.ExternalTrigConv = ADC_EXTERNALTRIGCONV_T2_CC3;
  hadc.Init.ExternalTrigConvEdge = ADC_EXTERNALTRIGCONVEDGE_RISING;
  hadc.Init.DMAContinuousRequests = DISABLE;
  if (HAL_ADC_Init(&hadc) != HAL_OK)
  {
    Error_Handler();
  }

  /** Configure for the selected ADC regular channel its corresponding rank in the sequencer and its sample time.
  */
  sConfig.Channel = ADC_CHANNEL_4;
  sConfig.Rank = ADC_REGULAR_RANK_1;
  sConfig.SamplingTime = ADC_SAMPLETIME_4CYCLES;
  if (HAL_ADC_ConfigChannel(&hadc, &sConfig) != HAL_OK)
  {
    Error_Handler();
  }

}

static void MX_LCD_Init(void)
{

  hlcd.Instance = LCD;
  hlcd.Init.Prescaler = LCD_PRESCALER_1;
  hlcd.Init.Divider = LCD_DIVIDER_16;
  hlcd.Init.Duty = LCD_DUTY_1_4;
  hlcd.Init.Bias = LCD_BIAS_1_4;
  hlcd.Init.VoltageSource = LCD_VOLTAGESOURCE_INTERNAL;
  hlcd.Init.Contrast = LCD_CONTRASTLEVEL_0;
  hlcd.Init.DeadTime = LCD_DEADTIME_0;
  hlcd.Init.PulseOnDuration = LCD_PULSEONDURATION_0;
  hlcd.Init.MuxSegment = LCD_MUXSEGMENT_DISABLE;
  hlcd.Init.BlinkMode = LCD_BLINKMODE_OFF;
  hlcd.Init.BlinkFrequency = LCD_BLINKFREQUENCY_DIV8;
  if (HAL_LCD_Init(&hlcd) != HAL_OK)
  {
    Error_Handler();
  }

}

static void MX_TIM2_Init(void)
{

  TIM_ClockConfigTypeDef sClockSourceConfig = {0};
  TIM_MasterConfigTypeDef sMasterConfig = {0};

  htim2.Instance = TIM2;
  htim2.Init.Prescaler = 0;
  htim2.Init.CounterMode = TIM_COUNTERMODE_UP;
  htim2.Init.Period = 65535;
  htim2.Init.ClockDivision = TIM_CLOCKDIVISION_DIV1;
  htim2.Init.AutoReloadPreload = TIM_AUTORELOAD_PRELOAD_DISABLE;
  if (HAL_TIM_Base_Init(&htim2) != HAL_OK)
  {
    Error_Handler();
  }
  sClockSourceConfig.ClockSource = TIM_CLOCKSOURCE_INTERNAL;
  if (HAL_TIM_ConfigClockSource(&htim2, &sClockSourceConfig) != HAL_OK)
  {
    Error_Handler();
  }
  sMasterConfig.MasterOutputTrigger = TIM_TRGO_RESET;
  sMasterConfig.MasterSlaveMode = TIM_MASTERSLAVEMODE_DISABLE;
  if (HAL_TIMEx_MasterConfigSynchronization(&htim2, &sMasterConfig) != HAL_OK)
  {
    Error_Handler();
  }

}

static void MX_TIM3_Init(void)
{

  TIM_ClockConfigTypeDef sClockSourceConfig = {0};
  TIM_MasterConfigTypeDef sMasterConfig = {0};

  htim3.Instance = TIM3;
  htim3.Init.Prescaler = 0;
  htim3.Init.CounterMode = TIM_COUNTERMODE_UP;
  htim3.Init.Period = 65535;
  htim3.Init.ClockDivision = TIM_CLOCKDIVISION_DIV1;
  htim3.Init.AutoReloadPreload = TIM_AUTORELOAD_PRELOAD_DISABLE;
  if (HAL_TIM_Base_Init(&htim3) != HAL_OK)
  {
    Error_Handler();
  }
  sClockSourceConfig.ClockSource = TIM_CLOCKSOURCE_INTERNAL;
  if (HAL_TIM_ConfigClockSource(&htim3, &sClockSourceConfig) != HAL_OK)
  {
    Error_Handler();
  }
  sMasterConfig.MasterOutputTrigger = TIM_TRGO_RESET;
  sMasterConfig.MasterSlaveMode = TIM_MASTERSLAVEMODE_DISABLE;
  if (HAL_TIMEx_MasterConfigSynchronization(&htim3, &sMasterConfig) != HAL_OK)
  {
    Error_Handler();
  }

}

static void MX_TIM4_Init(void)
{

  TIM_ClockConfigTypeDef sClockSourceConfig = {0};
  TIM_MasterConfigTypeDef sMasterConfig = {0};

  htim4.Instance = TIM4;
  htim4.Init.Prescaler = 0;
  htim4.Init.CounterMode = TIM_COUNTERMODE_UP;
  htim4.Init.Period = 65535;
  htim4.Init.ClockDivision = TIM_CLOCKDIVISION_DIV1;
  htim4.Init.AutoReloadPreload = TIM_AUTORELOAD_PRELOAD_DISABLE;
  if (HAL_TIM_Base_Init(&htim4) != HAL_OK)
  {
    Error_Handler();
  }
  sClockSourceConfig.ClockSource = TIM_CLOCKSOURCE_INTERNAL;
  if (HAL_TIM_ConfigClockSource(&htim4, &sClockSourceConfig) != HAL_OK)
  {
    Error_Handler();
  }
  sMasterConfig.MasterOutputTrigger = TIM_TRGO_RESET;
  sMasterConfig.MasterSlaveMode = TIM_MASTERSLAVEMODE_DISABLE;
  if (HAL_TIMEx_MasterConfigSynchronization(&htim4, &sMasterConfig) != HAL_OK)
  {
    Error_Handler();
  }

}

static void MX_TS_Init(void)
{

}

static void MX_USART3_UART_Init(void)
{

  huart3.Instance = USART3;
  huart3.Init.BaudRate = 9600;
  huart3.Init.WordLength = UART_WORDLENGTH_8B;
  huart3.Init.StopBits = UART_STOPBITS_1;
  huart3.Init.Parity = UART_PARITY_NONE;
  huart3.Init.Mode = UART_MODE_TX_RX;
  huart3.Init.HwFlowCtl = UART_HWCONTROL_NONE;
  huart3.Init.OverSampling = UART_OVERSAMPLING_16;
  if (HAL_UART_Init(&huart3) != HAL_OK)
  {
    Error_Handler();
  }

}

static void MX_GPIO_Init(void)
{
  GPIO_InitTypeDef GPIO_InitStruct = {0};

  /* GPIO Ports Clock Enable */
  __HAL_RCC_GPIOC_CLK_ENABLE();
  __HAL_RCC_GPIOA_CLK_ENABLE();
  __HAL_RCC_GPIOB_CLK_ENABLE();
  __HAL_RCC_GPIOD_CLK_ENABLE();

  /*Configure GPIO pin Output Level */
  HAL_GPIO_WritePin(GPIOD, GPIO_PIN_2, GPIO_PIN_RESET);

  /*Configure GPIO pin : B1_Pin */
  GPIO_InitStruct.Pin = B1_Pin;
  GPIO_InitStruct.Mode = GPIO_MODE_EVT_RISING;
  GPIO_InitStruct.Pull = GPIO_NOPULL;
  HAL_GPIO_Init(B1_GPIO_Port, &GPIO_InitStruct);

  /*Configure GPIO pin : PD2 */
  GPIO_InitStruct.Pin = GPIO_PIN_2;
  GPIO_InitStruct.Mode = GPIO_MODE_OUTPUT_PP;
  GPIO_InitStruct.Pull = GPIO_NOPULL;
  GPIO_InitStruct.Speed = GPIO_SPEED_FREQ_LOW;
  HAL_GPIO_Init(GPIOD, &GPIO_InitStruct);

}

void Error_Handler(void)
{
  __disable_irq();
  while (1)
  {
  }
}
